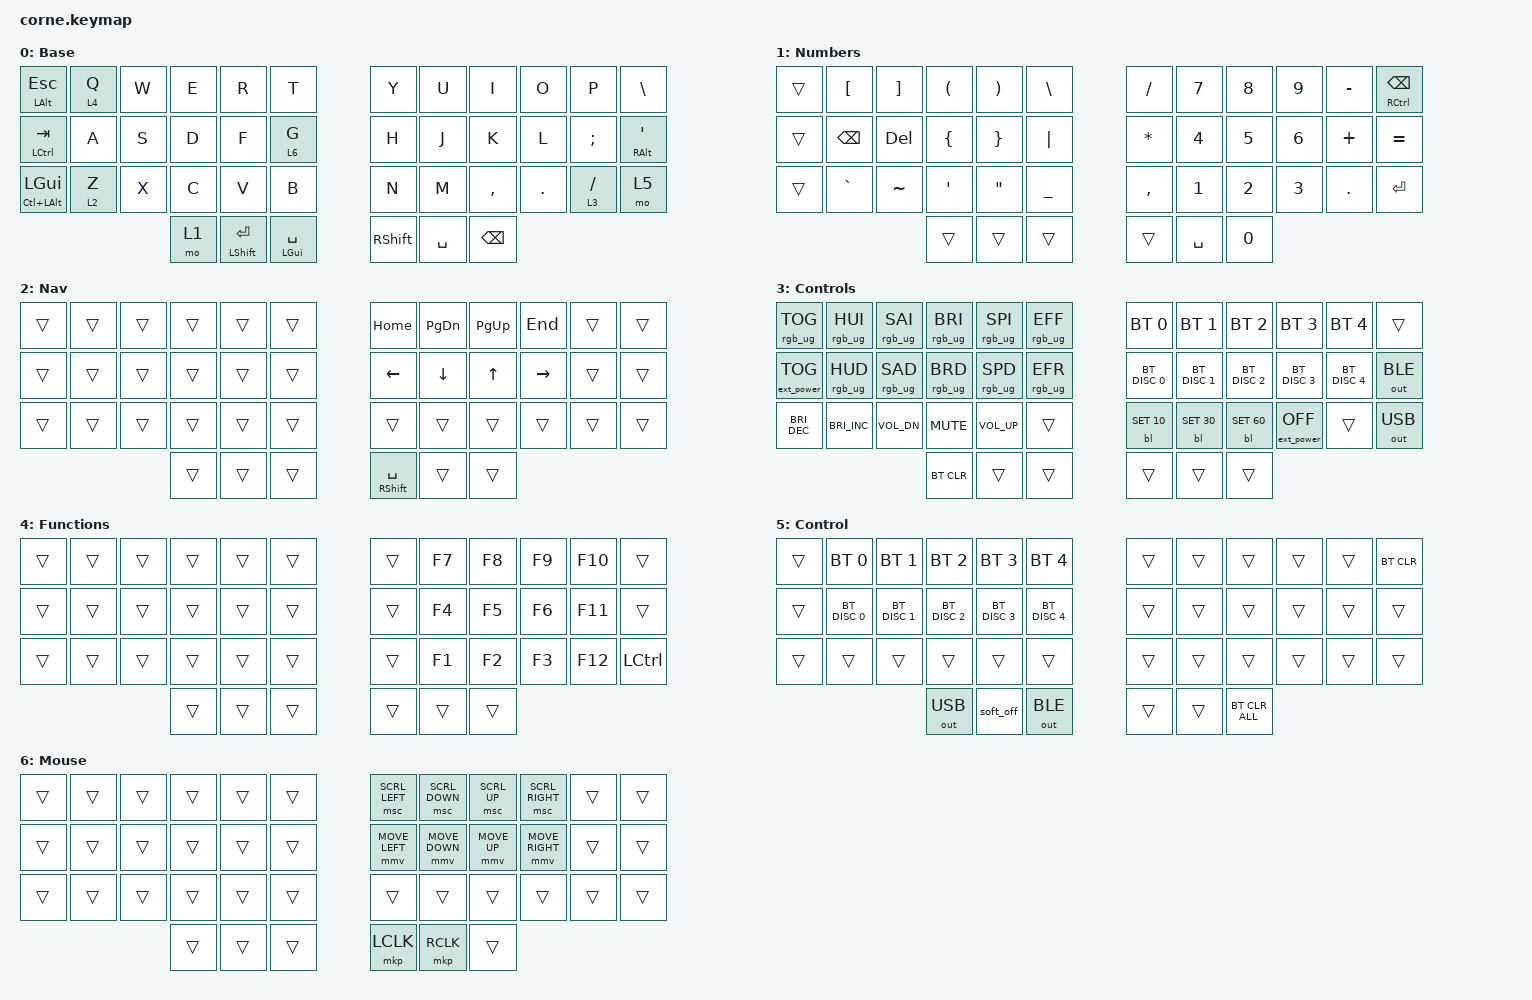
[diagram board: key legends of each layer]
/*
 * Copyright (c) 2020 The ZMK Contributors
 *
 * SPDX-License-Identifier: MIT
 */

#include <behaviors.dtsi>
#include <dt-bindings/zmk/backlight.h>
#include <dt-bindings/zmk/bt.h>
#include <dt-bindings/zmk/ext_power.h>
#include <dt-bindings/zmk/keys.h>
#include <dt-bindings/zmk/outputs.h>
#include <dt-bindings/zmk/pointing.h>
#include <dt-bindings/zmk/rgb.h>

/ {
    combos {
        compatible = "zmk,combos";

        email {
            bindings = <&Email>;
            key-positions = <3 31>;
            layers = <0>;
            require-prior-idle-ms = <350>;
            timeout-ms = <40>;
        };

        name {
            bindings = <&Name>;
            key-positions = <15 21>;
            timeout-ms = <40>;
            layers = <0>;
            require-prior-idle-ms = <350>;
        };

        Maxem {
            bindings = <&Maxem>;
            key-positions = <26 31>;
            layers = <0>;
            require-prior-idle-ms = <350>;
            timeout-ms = <40>;
        };
    };

    macros {
        Email: Email {
            compatible = "zmk,behavior-macro";
            #binding-cells = <0>;
            bindings = <&none &kp L &kp E &kp Q &kp U &kp A &kp N &kp G &kp D &kp I &kp N &kp H &kp AT &kp G &kp M &kp A &kp I &kp L &kp DOT &kp C &kp O &kp M>;
        };

        Name: name {
            compatible = "zmk,behavior-macro";
            #binding-cells = <0>;
            bindings = <&none &kp LS(Q) &kp U &kp A &kp N &kp G &kp SPACE &kp LS(D) &kp I &kp N &kp H &kp SPACE &kp LS(L) &kp E>;
        };

        Maxem: Maxem {
            compatible = "zmk,behavior-macro";
            #binding-cells = <0>;
            bindings = <&none &kp D &kp I &kp N &kp H &kp DOT &kp L &kp E &kp AT &kp M &kp A &kp X &kp E &kp M &kp DOT &kp E &kp N &kp E &kp R &kp G &kp Y>;
            label = "MAXEM";
        };
    };

    keymap {
        compatible = "zmk,keymap";

        Base {
            // -----------------------------------------------------------------------------------------
            // |  TAB |  Q  |  W  |  E  |  R  |  T  |   |  Y  |  U   |  I  |  O  |  P  | BKSP |
            // | CTRL |  A  |  S  |  D  |  F  |  G  |   |  H  |  J   |  K  |  L  |  ;  |  '   |
            // | SHFT |  Z  |  X  |  C  |  V  |  B  |   |  N  |  M   |  ,  |  .  |  /  | ESC  |
            //                    | GUI | LWR | SPC |   | ENT | RSE  | ALT |

            bindings = <
&mt LEFT_ALT ESCAPE        &lt 4 Q  &kp W  &kp E         &kp R                 &kp T                 &kp Y            &kp U      &kp I          &kp O    &kp P          &kp BACKSLASH
&mt LCTRL TAB              &kp A    &kp S  &kp D         &kp F                 &lt 6 G               &kp H            &kp J      &kp K          &kp L    &kp SEMICOLON  &mt RIGHT_ALT SINGLE_QUOTE
&mt LC(LEFT_ALT) LEFT_GUI  &lt 2 Z  &kp X  &kp C         &kp V                 &kp B                 &kp N            &kp M      &kp COMMA      &kp DOT  &lt 3 SLASH    &mo 5
                                           &mo 1         &mt LEFT_SHIFT ENTER  &mt LEFT_GUI SPACE    &kp RIGHT_SHIFT  &kp SPACE  &kp BACKSPACE
            >;
        };

        Numbers {
            // -----------------------------------------------------------------------------------------
            // |  TAB |  1  |  2  |  3  |  4  |  5  |   |  6  |  7  |  8  |  9  |  0  | BKSP |
            // | BTCLR| BT1 | BT2 | BT3 | BT4 | BT5 |   | LFT | DWN |  UP | RGT |     |      |
            // | SHFT |     |     |     |     |     |   |     |     |     |     |     |      |
            //                    | GUI |     | SPC |   | ENT |     | ALT |

            bindings = <
&trans  &kp LEFT_BRACKET  &kp RIGHT_BRACKET  &kp LEFT_PARENTHESIS  &kp RIGHT_PARENTHESIS  &kp BACKSLASH     &kp SLASH     &kp NUMBER_7  &kp NUMBER_8  &kp N9        &kp MINUS   &mt RCTRL BACKSPACE
&trans  &kp BACKSPACE     &kp DELETE         &kp LEFT_BRACE        &kp RIGHT_BRACE        &kp PIPE          &kp ASTERISK  &kp NUMBER_4  &kp NUMBER_5  &kp NUMBER_6  &kp PLUS    &kp EQUAL
&trans  &kp GRAVE         &kp TILDE          &kp SINGLE_QUOTE      &kp DOUBLE_QUOTES      &kp UNDERSCORE    &kp COMMA     &kp NUMBER_1  &kp NUMBER_2  &kp NUMBER_3  &kp PERIOD  &kp ENTER
                                             &trans                &trans                 &trans            &trans        &kp SPACE     &kp NUMBER_0
            >;
        };

        Nav {
            bindings = <
&trans  &trans  &trans  &trans  &trans  &trans    &kp HOME               &kp PAGE_DOWN  &kp PAGE_UP  &kp END    &trans  &trans
&trans  &trans  &trans  &trans  &trans  &trans    &kp LEFT               &kp DOWN       &kp UP       &kp RIGHT  &trans  &trans
&trans  &trans  &trans  &trans  &trans  &trans    &trans                 &trans         &trans       &trans     &trans  &trans
                        &trans  &trans  &trans    &mt RIGHT_SHIFT SPACE  &trans         &trans
            >;
        };

        Controls {
            bindings = <
&rgb_ug RGB_TOG    &rgb_ug RGB_HUI       &rgb_ug RGB_SAI  &rgb_ug RGB_BRI  &rgb_ug RGB_SPI  &rgb_ug RGB_EFF    &bt BT_SEL 0   &bt BT_SEL 1   &bt BT_SEL 2   &bt BT_SEL 3       &bt BT_SEL 4   &trans
&ext_power EP_TOG  &rgb_ug RGB_HUD       &rgb_ug RGB_SAD  &rgb_ug RGB_BRD  &rgb_ug RGB_SPD  &rgb_ug RGB_EFR    &bt BT_DISC 0  &bt BT_DISC 1  &bt BT_DISC 2  &bt BT_DISC 3      &bt BT_DISC 4  &out OUT_BLE
&kp C_BRI_DEC      &kp C_BRIGHTNESS_INC  &kp C_VOL_DN     &kp C_MUTE       &kp C_VOL_UP     &trans             &bl BL_SET 10  &bl BL_SET 30  &bl BL_SET 60  &ext_power EP_OFF  &trans         &out OUT_USB
                                                          &bt BT_CLR       &trans           &trans             &trans         &trans         &trans
            >;
        };

        Functions {
            bindings = <
&trans  &trans  &trans  &trans  &trans  &trans    &trans  &kp F7  &kp F8  &kp F9  &kp F10  &trans
&trans  &trans  &trans  &trans  &trans  &trans    &trans  &kp F4  &kp F5  &kp F6  &kp F11  &trans
&trans  &trans  &trans  &trans  &trans  &trans    &trans  &kp F1  &kp F2  &kp F3  &kp F12  &kp LCTRL
                        &trans  &trans  &trans    &trans  &trans  &trans
            >;
        };

        Control {
            bindings = <
&trans  &bt BT_SEL 0   &bt BT_SEL 1   &bt BT_SEL 2   &bt BT_SEL 3   &bt BT_SEL 4     &trans  &trans  &trans          &trans  &trans  &bt BT_CLR
&trans  &bt BT_DISC 0  &bt BT_DISC 1  &bt BT_DISC 2  &bt BT_DISC 3  &bt BT_DISC 4    &trans  &trans  &trans          &trans  &trans  &trans
&trans  &trans         &trans         &trans         &trans         &trans           &trans  &trans  &trans          &trans  &trans  &trans
                                      &out OUT_USB   &soft_off      &out OUT_BLE     &trans  &trans  &bt BT_CLR_ALL
            >;
        };

        Mouse {
            bindings = <
&trans  &trans  &trans  &trans  &trans  &trans    &msc SCRL_LEFT  &msc SCRL_DOWN  &msc SCRL_UP  &msc SCRL_RIGHT  &trans  &trans
&trans  &trans  &trans  &trans  &trans  &trans    &mmv MOVE_LEFT  &mmv MOVE_DOWN  &mmv MOVE_UP  &mmv MOVE_RIGHT  &trans  &trans
&trans  &trans  &trans  &trans  &trans  &trans    &trans          &trans          &trans        &trans           &trans  &trans
                        &trans  &trans  &trans    &mkp LCLK       &mkp RCLK       &trans
            >;
        };
    };
};
